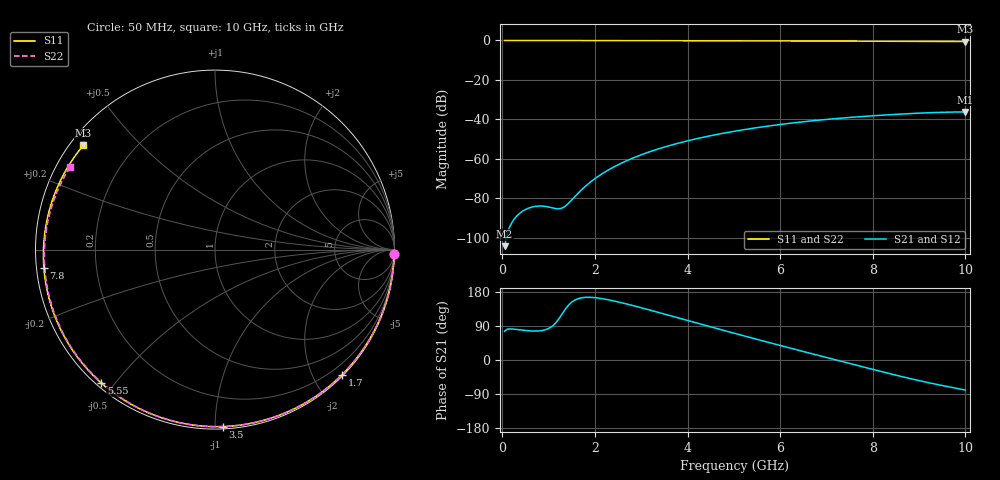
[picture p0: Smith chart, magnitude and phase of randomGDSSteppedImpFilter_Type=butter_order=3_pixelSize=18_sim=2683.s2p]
! freq	dB(S11)	phase(S11)	dB(S12)	phase(S12)
!  dB(S21)	phase(S21)	dB(S22)	phase(S22)
!S-par simulation data
#  GHz  S  DB  R 50
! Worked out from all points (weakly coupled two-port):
!   200 points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, 50 MHz to 10 GHz, reference 50 ohm
!   highest |S21| = -36.17 dB at 10 GHz (marker M1); lowest = -104.1 dB at 50 MHz (marker M2)
!   lowest |S11| = -0.6 dB at 10 GHz (marker M3), VSWR 30.14, Z = 1.86 + j17.4 ohm
!   |S11| at or under -10 dB: nowhere
!   |S22| runs from -0.6 to 0.0 dB; largest |S21 - S12| = 0
!   S11 on the Smith chart (normalised r, x): 50 MHz: 5, -88; 1.7 GHz: 0.02, -2.44; 3.5 GHz: 0.01, -1.05; 5.55 GHz: 0.01, -0.46; 7.8 GHz: 0.02, -0.05; 10 GHz: 0.04, +0.35
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0.05  -0.01 -1.3  -104.13 75.6  -104.13 75.6  -0.00 -1.3
0.4  -0.02 -10.7  -87.05 79.3  -87.05 79.3  -0.02 -9.9
0.75  -0.03 -20.0  -83.89 76.4  -83.89 76.4  -0.02 -18.5
1.5  -0.05 -39.5  -80.70 152.7  -80.70 152.7  -0.05 -36.7
1.55  -0.05 -40.7  -79.44 156.9  -79.44 156.9  -0.05 -37.9
1.7  -0.06 -44.5  -75.84 163.8  -75.84 163.8  -0.05 -41.5
1.75  -0.06 -45.8  -74.73 164.8  -74.73 164.8  -0.05 -42.6
2.05  -0.07 -53.3  -69.11 163.8  -69.11 163.8  -0.06 -49.7
2.45  -0.08 -63.1  -63.53 154.7  -63.53 154.7  -0.08 -58.8
2.9  -0.09 -73.7  -58.78 141.1  -58.78 141.1  -0.09 -68.9
3.4  -0.11 -85.2  -54.68 124.7  -54.68 124.7  -0.10 -79.8
3.5  -0.11 -87.4  -53.97 121.3  -53.97 121.3  -0.11 -81.9
4.25  -0.14 -103.8  -49.45 95.9  -49.45 95.9  -0.13 -97.5
5.05  -0.18 -120.4  -45.81 69.2  -45.81 69.2  -0.17 -113.5
5.55  -0.20 -130.4  -43.97 52.8  -43.97 52.8  -0.20 -123.1
6.15  -0.24 -142.2  -42.10 33.6  -42.10 33.6  -0.24 -134.6
6.7  -0.28 -152.8  -40.66 16.1  -40.66 16.1  -0.27 -144.8
7.25  -0.32 -163.3  -39.45 -1.2  -39.45 -1.2  -0.31 -155.0
7.8  -0.36 -173.9  -38.45 -18.5  -38.45 -18.5  -0.36 -165.3
8.35  -0.41 175.4  -37.62 -35.5  -37.62 -35.5  -0.42 -175.8
9.2  -0.50 158.4  -36.60 -59.8  -36.60 -59.8  -0.52 167.4
10  -0.58 141.7  -36.17 -79.2  -36.17 -79.2  -0.64 150.4
